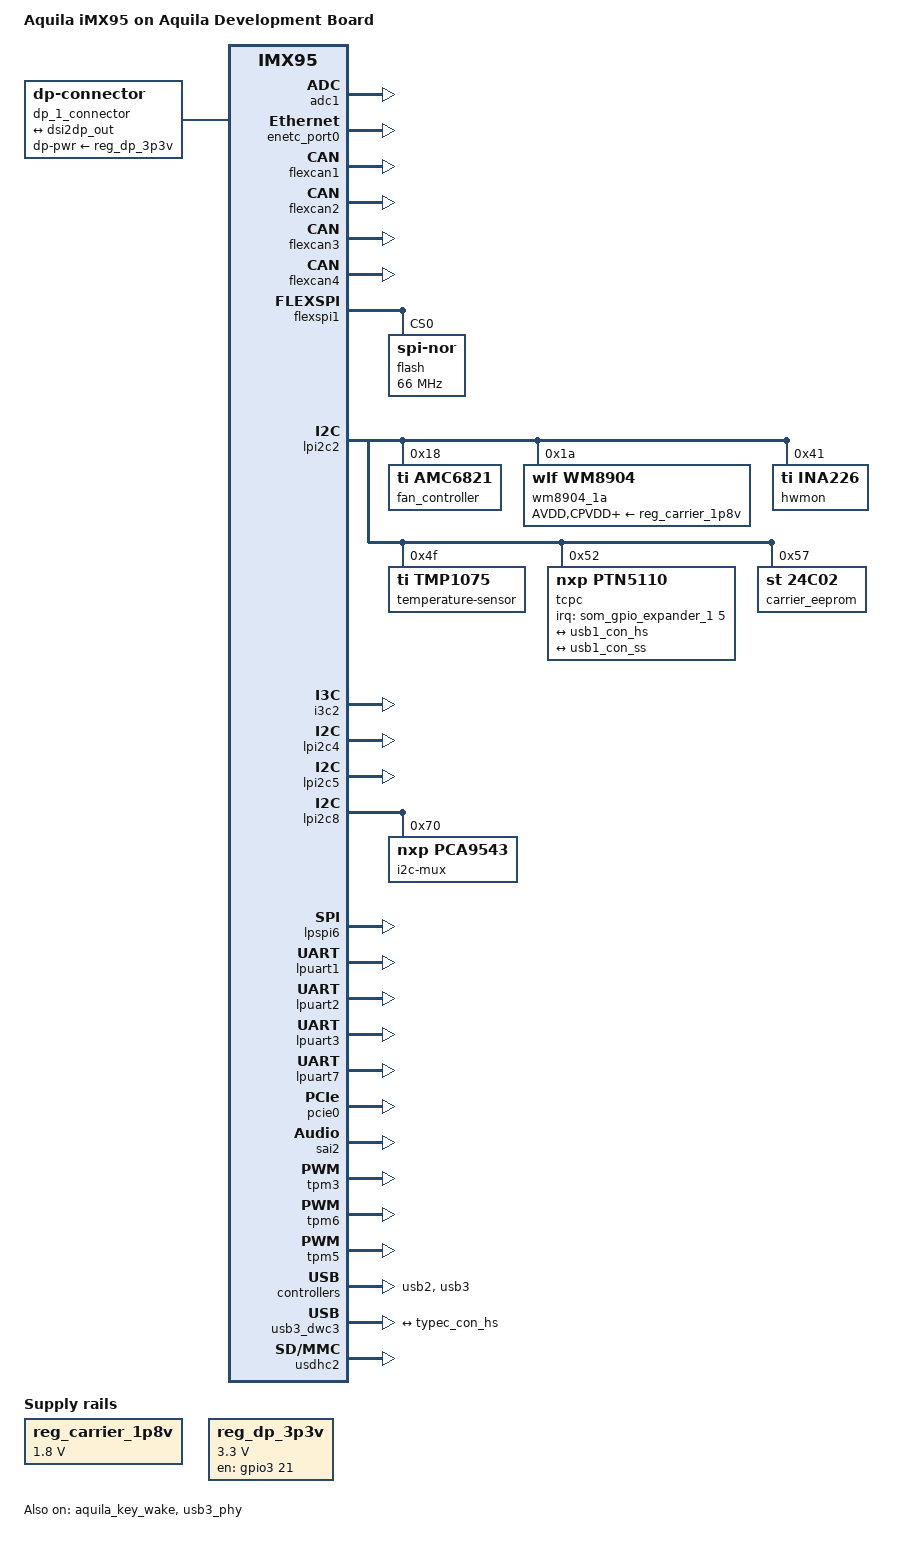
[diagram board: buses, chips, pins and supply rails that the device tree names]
// SPDX-License-Identifier: GPL-2.0-or-later OR MIT
/*
 * Copyright (c) Toradex
 *
 * https://www.toradex.com/computer-on-modules/aquila-arm-family/nxp-imx95
 * https://www.toradex.com/products/carrier-board/aquila-development-board-kit
 */

/dts-v1/;

#include <dt-bindings/pwm/pwm.h>
#include <dt-bindings/usb/pd.h>
#include "imx95-aquila.dtsi"

/ {
	model = "Aquila iMX95 on Aquila Development Board";
	compatible = "toradex,aquila-imx95-dev",
		     "toradex,aquila-imx95",
		     "fsl,imx95";

	aliases {
		eeprom1 = &carrier_eeprom;
	};

	dp_1_connector: dp0-connector {
		compatible = "dp-connector";
		dp-pwr-supply = <&reg_dp_3p3v>;
		type = "full-size";

		port {
			dp_1_connector_in: endpoint {
				remote-endpoint = <&dsi2dp_out>;
			};
		};
	};

	reg_carrier_1p8v: regulator-carrier-1p8v {
		compatible = "regulator-fixed";
		regulator-max-microvolt = <1800000>;
		regulator-min-microvolt = <1800000>;
		regulator-name = "On-carrier 1V8";
	};

	reg_dp_3p3v: regulator-dp-3p3v {
		compatible = "regulator-fixed";
		pinctrl-names = "default";
		pinctrl-0 = <&pinctrl_gpio_21_dp>;
		/* Aquila GPIO_21_DP */
		gpios = <&gpio3 21 GPIO_ACTIVE_HIGH>;
		enable-active-high;
		regulator-max-microvolt = <3300000>;
		regulator-min-microvolt = <3300000>;
		regulator-name = "DP_3V3";
		startup-delay-us = <10000>;
	};

	sound {
		compatible = "simple-audio-card";
		simple-audio-card,bitclock-master = <&codec_dai>;
		simple-audio-card,format = "i2s";
		simple-audio-card,frame-master = <&codec_dai>;
		simple-audio-card,mclk-fs = <256>;
		simple-audio-card,name = "aquila-wm8904";
		simple-audio-card,routing =
			"Headphone Jack", "HPOUTL",
			"Headphone Jack", "HPOUTR",
			"IN2L", "Line In Jack",
			"IN2R", "Line In Jack",
			"Microphone Jack", "MICBIAS",
			"IN1L", "Microphone Jack",
			"IN1R", "Digital Mic";
		simple-audio-card,widgets =
			"Microphone", "Microphone Jack",
			"Microphone", "Digital Mic",
			"Headphone", "Headphone Jack",
			"Line", "Line In Jack";

		codec_dai: simple-audio-card,codec {
			sound-dai = <&wm8904_1a>;
		};

		simple-audio-card,cpu {
			sound-dai = <&sai2>;
		};
	};
};

/* Aquila ADC_[1-4] */
&adc1 {
	status = "okay";
};

/* Aquila CTRL_WAKE1_MICO# */
&aquila_key_wake {
	status = "okay";
};

&dsi2dp_out {
	remote-endpoint = <&dp_1_connector_in>;
};

/* Aquila ETH_1 */
&enetc_port0 {
	status = "okay";
};

/* Aquila CAN_1 */
&flexcan1 {
	status = "okay";
};

/* Aquila CAN_2 */
&flexcan2 {
	status = "okay";
};

/* Aquila CAN_3 */
&flexcan3 {
	status = "okay";
};

/* Aquila CAN_4 */
&flexcan4 {
	status = "okay";
};

/* Aquila QSPI_1 */
&flexspi1 {
	pinctrl-0 = <&pinctrl_flexspi1_4bit>,
		    <&pinctrl_qspi_cs1>;

	status = "okay";

	flash@0 {
		compatible = "jedec,spi-nor";
		reg = <0x0>;
		spi-max-frequency = <66000000>;
		spi-rx-bus-width = <4>;
		spi-tx-bus-width = <4>;
	};
};

&gpio1 {
	pinctrl-names = "default";
	pinctrl-0 = <&pinctrl_gpio_8>;
};

&gpio4 {
	pinctrl-names = "default";
	pinctrl-0 = <&pinctrl_gpio_1>,
		    <&pinctrl_gpio_2>,
		    <&pinctrl_gpio_3>,
		    <&pinctrl_gpio_4>,
		    <&pinctrl_gpio_5>,
		    <&pinctrl_gpio_6>,
		    <&pinctrl_gpio_7>;
};

/* Aquila I2C_1 */
&lpi2c2 {
	status = "okay";

	fan_controller: fan@18 {
		compatible = "ti,amc6821";
		reg = <0x18>;
		#pwm-cells = <2>;

		fan {
			cooling-levels = <255>;
			pwms = <&fan_controller 40000 PWM_POLARITY_INVERTED>;
		};
	};

	wm8904_1a: audio-codec@1a {
		compatible = "wlf,wm8904";
		reg = <0x1a>;
		pinctrl-names = "default";
		pinctrl-0 = <&pinctrl_sai2_mclk>;
		clocks = <&scmi_clk IMX95_CLK_SAI2>;
		clock-names = "mclk";
		#sound-dai-cells = <0>;
		AVDD-supply = <&reg_carrier_1p8v>;
		CPVDD-supply = <&reg_carrier_1p8v>;
		DBVDD-supply = <&reg_carrier_1p8v>;
		DCVDD-supply = <&reg_carrier_1p8v>;
		MICVDD-supply = <&reg_carrier_1p8v>;
		wlf,drc-cfg-names = "default", "peaklimiter";
		/*
		 * Config registers per name, respectively:
		 * KNEE_IP = 0,   KNEE_OP = 0,     HI_COMP = 1,   LO_COMP = 1
		 * KNEE_IP = -24, KNEE_OP = -6,    HI_COMP = 1/4, LO_COMP = 1
		 */
		wlf,drc-cfg-regs = /bits/ 16 <0x01af 0x3248 0x0000 0x0000>,
				   /bits/ 16 <0x04af 0x324b 0x0010 0x0408>;
		/* GPIO1 = DMIC_CLK, don't touch others */
		wlf,gpio-cfg = <0x0018>, <0xffff>, <0xffff>, <0xffff>;
		wlf,in1r-as-dmicdat2;
	};

	/* Current measurement into module VCC */
	hwmon@41 {
		compatible = "ti,ina226";
		reg = <0x41>;
		shunt-resistor = <5000>;
	};

	temperature-sensor@4f {
		compatible = "ti,tmp1075";
		reg = <0x4f>;
	};

	/* USB-C OTG (TCPC USB PD PHY) */
	tcpc@52 {
		compatible = "nxp,ptn5110", "tcpci";
		reg = <0x52>;
		interrupt-parent = <&som_gpio_expander_1>;
		interrupts = <5 IRQ_TYPE_EDGE_FALLING>;

		connector {
			compatible = "usb-c-connector";
			data-role = "dual";
			op-sink-microwatt = <0>;
			power-role = "dual";
			self-powered;
			sink-pdos = <PDO_FIXED(5000, 0, PDO_FIXED_USB_COMM)>;
			source-pdos = <PDO_FIXED(5000, 3000, PDO_FIXED_USB_COMM)>;
			try-power-role = "sink";

			ports {
				#address-cells = <1>;
				#size-cells = <0>;

				port@0 {
					reg = <0>;

					typec_con_hs: endpoint {
						remote-endpoint = <&usb1_con_hs>;
					};
				};

				port@1 {
					reg = <1>;

					typec_con_ss: endpoint {
						remote-endpoint = <&usb1_con_ss>;
					};
				};
			};
		};
	};

	carrier_eeprom: eeprom@57 {
		compatible = "st,24c02", "atmel,24c02";
		reg = <0x57>;
		pagesize = <16>;
	};
};

/* Aquila I2C_2 */
&i3c2 {
	status = "okay";
};

/* Aquila I2C_4_CSI1 */
&lpi2c4 {
	status = "okay";
};

/* Aquila I2C_6 */
&lpi2c5 {
	status = "okay";
};

/* Aquila I2C_3_DSI1/I2C_5_CSI2 */
&lpi2c8 {
	status = "okay";

	i2c-mux@70 {
		compatible = "nxp,pca9543";
		reg = <0x70>;
		#address-cells = <1>;
		#size-cells = <0>;

		/* I2C on DSI Connector Pin #4 and #6 */
		i2c_dsi_0: i2c@0 {
			reg = <0>;
			#address-cells = <1>;
			#size-cells = <0>;
		};

		/* I2C on DSI Connector Pin #52 and #54 */
		i2c_dsi_1: i2c@1 {
			reg = <1>;
			#address-cells = <1>;
			#size-cells = <0>;
		};
	};
};

/* Aquila SPI_1 */
&lpspi6 {
	status = "okay";
};

/* Aquila UART_3, used as the Linux Console */
&lpuart1 {
	status = "okay";
};

/* Aquila UART_4 */
&lpuart2 {
	status = "okay";
};

/* Aquila UART_1 */
&lpuart3 {
	status = "okay";
};

/* Aquila UART_2 as RS485 */
&lpuart7 {
	linux,rs485-enabled-at-boot-time;
	rs485-rts-active-low;
	rs485-rx-during-tx;

	status = "okay";
};

/* Aquila PCIE_1 */
&pcie0 {
	status = "okay";
};

/* Aquila I2S_1 */
&sai2 {
	status = "okay";
};

/* Aquila PWM_1 */
&tpm3 {
	status = "okay";
};

/* Aquila PWM_2 */
&tpm6 {
	status = "okay";
};

/* Aquila PWM_3_DSI and PWM_4_DP */
&tpm5 {
	status = "okay";
};

/* Aquila USB_2, optional Bluetooth USB */
&usb2 {
	status = "okay";
};

/* Aquila USB_1 */
&usb3 {
	status = "okay";
};

&usb3_dwc3 {
	status = "okay";

	port {
		usb1_con_hs: endpoint {
			remote-endpoint = <&typec_con_hs>;
		};
	};
};

&usb3_phy {
	orientation-switch;

	status = "okay";

	port {
		usb1_con_ss: endpoint {
			remote-endpoint = <&typec_con_ss>;
		};
	};
};

/* Aquila SD_1 */
&usdhc2 {
	status = "okay";
};
